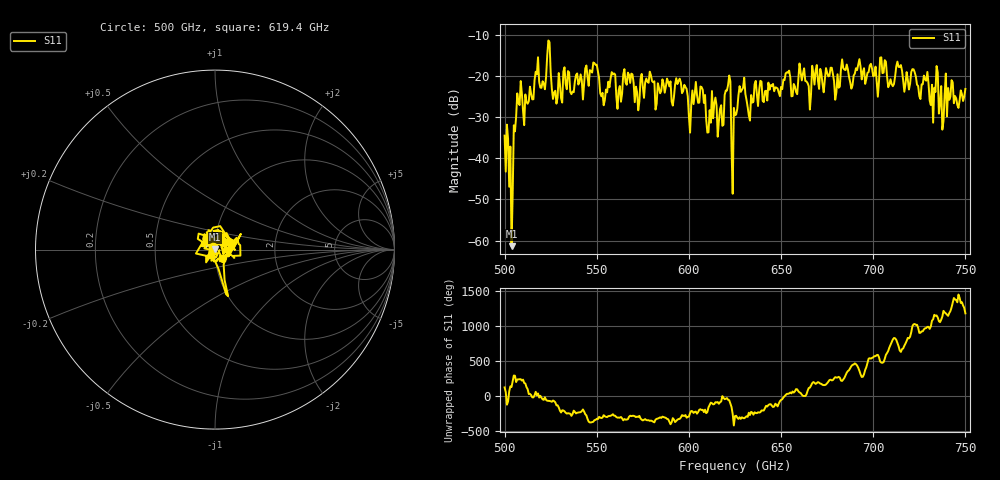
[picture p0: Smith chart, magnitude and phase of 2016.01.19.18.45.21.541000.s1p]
!Created with skrf (http://scikit-rf.org).
# GHz S RI R 50.0
!freq ReS11 ImS11
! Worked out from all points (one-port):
!   401 points, 500 GHz to 750 GHz, reference 50 ohm
!   lowest |S11| = -61.3 dB at 503.8 GHz (marker M1), VSWR 1.00, Z = 50 + j0.0716 ohm
!   |S11| at or under -10 dB: start of sweep to end of sweep
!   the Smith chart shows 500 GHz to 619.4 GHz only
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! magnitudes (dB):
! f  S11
! 500 GHz  -34.5
! 503.8 GHz  -61.3
! 508.1 GHz  -27.1
! 520.6 GHz  -21.3
! 523.8 GHz  -11.4
! 526.9 GHz  -24.0
! 531.2 GHz  -26.5
! 549.4 GHz  -17.3
! 553.1 GHz  -24.1
! 558.8 GHz  -19.7
! 562.5 GHz  -22.5
! 593.8 GHz  -22.0
! 601.2 GHz  -27.0
! 607.5 GHz  -23.4
! 610.6 GHz  -33.7
! 613.8 GHz  -26.7
! 616.9 GHz  -28.0
! 621.2 GHz  -22.2
! 622.5 GHz  -21.3
! 625 GHz  -29.6
! 628.8 GHz  -23.4
! 633.1 GHz  -30.9
! 656.2 GHz  -24.9
! 687.5 GHz  -21.5
! 718.8 GHz  -20.9
! 734.4 GHz  -17.6
! 736.9 GHz  -22.5
! 750 GHz  -23.2
